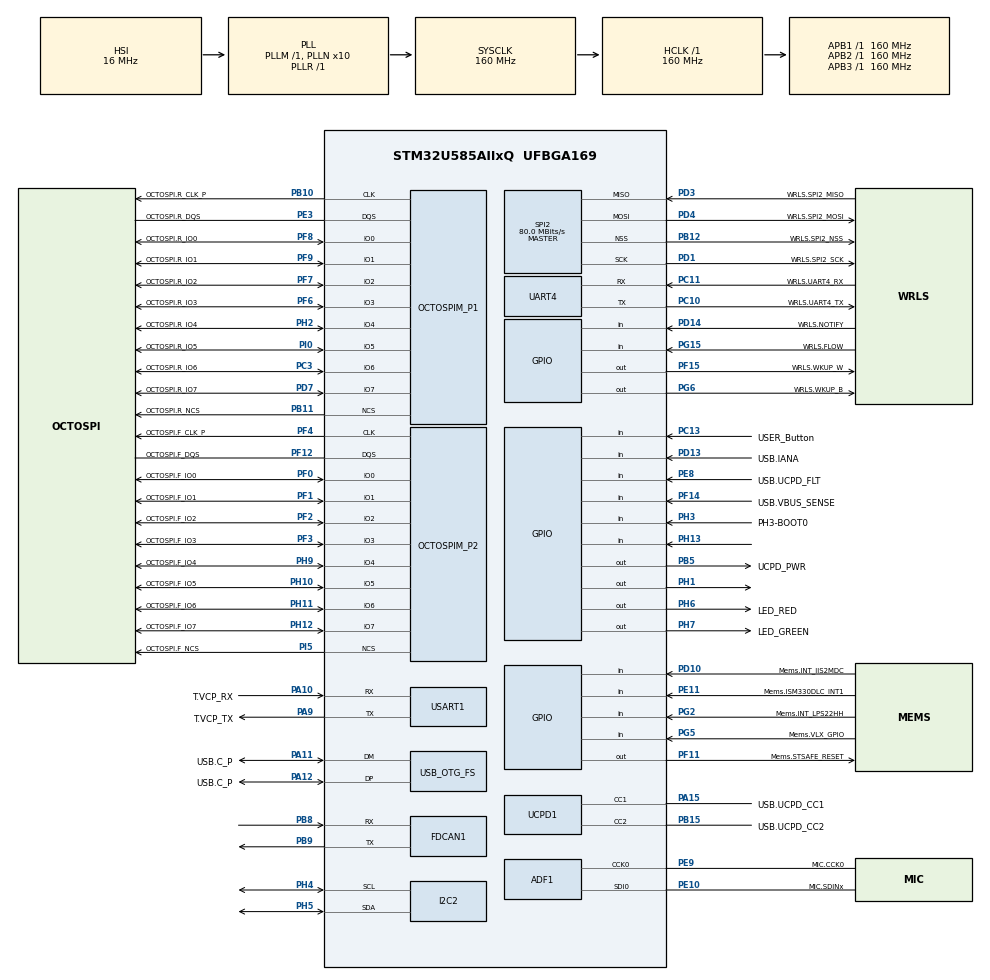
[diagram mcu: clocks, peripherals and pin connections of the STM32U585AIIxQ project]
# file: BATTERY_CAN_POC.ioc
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CORTEX_M33_NS.userName=CORTEX_M33
FDCAN1.AutoRetransmission=ENABLE
FDCAN1.CalculateBaudRateNominal=500000
FDCAN1.CalculateTimeBitNominal=2000
FDCAN1.CalculateTimeQuantumNominal=12.5
FDCAN1.FrameFormat=FDCAN_FRAME_CLASSIC
FDCAN1.NominalPrescaler=1
FDCAN1.NominalSyncJumpWidth=21
FDCAN1.NominalTimeSeg1=138
FDCAN1.NominalTimeSeg2=21
I2C2.Timing=0x30909DEC
Mcu.Family=STM32U5
Mcu.Name=STM32U585AIIxQ
Mcu.Package=UFBGA169
NVIC.FDCAN1_IT0_IRQn=true\:0\:0\:false\:false\:true\:true\:true\:true
NVIC.FDCAN1_IT1_IRQn=true\:0\:0\:false\:false\:true\:true\:true\:true
NVIC.PriorityGroup=NVIC_PRIORITYGROUP_4
OCTOSPI1.ChipSelectBoundary=10
OCTOSPI1.ClockPrescaler=2
OCTOSPI1.DelayBlockBypass=HAL_OSPI_DELAY_BLOCK_USED
OCTOSPI1.DelayHoldQuarterCycle=HAL_OSPI_DHQC_ENABLE
OCTOSPI1.DeviceSize=23
OCTOSPI1.MemoryType=HAL_OSPI_MEMTYPE_APMEMORY
OCTOSPI1.Refresh=100
OCTOSPI2.ChipSelectBoundary=0
OCTOSPI2.ChipSelectHighTime=2
OCTOSPI2.ClockPrescaler=4
OCTOSPI2.DelayBlockBypass=HAL_OSPI_DELAY_BLOCK_USED
OCTOSPI2.DelayHoldQuarterCycle=HAL_OSPI_DHQC_ENABLE
OCTOSPI2.DeviceSize=26
OCTOSPI2.FifoThreshold=4
OCTOSPI2.MemoryType=HAL_OSPI_MEMTYPE_MACRONIX
PA10.GPIO_Label=T.VCP_RX
PA10.Mode=Asynchronous
PA10.Signal=USART1_RX
PA11.GPIO_Label=USB.C_P
PA11.Mode=Device_Only
PA11.Signal=USB_OTG_FS_DM
PA12.GPIO_Label=USB.C_P
PA12.Mode=Device_Only
PA12.Signal=USB_OTG_FS_DP
PA13\ (JTMS/SWDIO).GPIO_Label=T.SWDIO
PA13\ (JTMS/SWDIO).Mode=Trace_Asynchronous_SW
PA13\ (JTMS/SWDIO).Signal=DEBUG_JTMS-SWDIO
PA14\ (JTCK/SWCLK).GPIO_Label=T.SWCLK
PA14\ (JTCK/SWCLK).Mode=Trace_Asynchronous_SW
PA14\ (JTCK/SWCLK).Signal=DEBUG_JTCK-SWCLK
PA15\ (JTDI).GPIO_Label=USB.UCPD_CC1
PA15\ (JTDI).Mode=Dual_Role_AllSignals
PA15\ (JTDI).Signal=UCPD1_CC1
PA9.GPIO_Label=T.VCP_TX
PA9.Mode=Asynchronous
PA9.Signal=USART1_TX
PB1.GPIO_Label=MIC.SDIN0
PB1.Signal=MDF1_SDI0
PB10.GPIO_Label=OCTOSPI.R_CLK_P
PB10.Mode=O1_P1_CLK
PB10.Signal=OCTOSPIM_P1_CLK
PB11.GPIO_Label=OCTOSPI.R_NCS
PB11.Mode=OCTOSPI1_Port1_NCS
PB11.Signal=OCTOSPIM_P1_NCS
PB12.GPIO_Label=WRLS.SPI2_NSS
PB12.Mode=NSS_Signal_Hard_Output
PB12.Signal=SPI2_NSS
PB15.GPIO_Label=USB.UCPD_CC2
PB15.Mode=Dual_Role_AllSignals
PB15.Signal=UCPD1_CC2
PB3\ (JTDO/TRACESWO).GPIO_Label=T.SWO
PB3\ (JTDO/TRACESWO).Mode=Trace_Asynchronous_SW
PB3\ (JTDO/TRACESWO).Signal=DEBUG_JTDO-SWO
PB5.GPIO_Label=UCPD_PWR
PB5.Signal=GPIO_Output
PB8.Mode=FDCAN_Activate
PB8.Signal=FDCAN1_RX
PB9.Mode=FDCAN_Activate
PB9.Signal=FDCAN1_TX
PC10.GPIO_Label=WRLS.UART4_TX
PC10.Mode=Asynchronous
PC10.Signal=UART4_TX
PC11.GPIO_Label=WRLS.UART4_RX
PC11.Mode=Asynchronous
PC11.Signal=UART4_RX
PC13.GPIO_Label=USER_Button
PC13.GPIO_PuPd=GPIO_PULLUP
PC13.Signal=GPIO_Input
PC14-OSC32_IN\ (PC14).GPIO_Label=PC14-OSC32_IN
PC14-OSC32_IN\ (PC14).Mode=LSE-External-Oscillator-for-RTC
PC14-OSC32_IN\ (PC14).Signal=RCC_OSC32_IN
PC15-OSC32_OUT\ (PC15).GPIO_Label=PC15-OSC32_OUT
PC15-OSC32_OUT\ (PC15).Mode=LSE-External-Oscillator-for-RTC
PC15-OSC32_OUT\ (PC15).Signal=RCC_OSC32_OUT
PC3.GPIO_Label=OCTOSPI.R_IO6
PC3.Mode=OCTOSPI1_IOH_Port1H
PC3.Signal=OCTOSPIM_P1_IO6
PD1.GPIO_Label=WRLS.SPI2_SCK
PD1.Mode=Full_Duplex_Master
PD1.Signal=SPI2_SCK
PD10.GPIO_Label=Mems.INT_IIS2MDC
PD10.Signal=GPIO_Input
PD13.GPIO_Label=USB.IANA
PD13.Signal=GPIO_Input
PD14.GPIO_Label=WRLS.NOTIFY
PD14.Signal=GPIO_Input
PD3.GPIO_Label=WRLS.SPI2_MISO
PD3.Mode=Full_Duplex_Master
PD3.Signal=SPI2_MISO
PD4.GPIO_Label=WRLS.SPI2_MOSI
PD4.Mode=Full_Duplex_Master
PD4.Signal=SPI2_MOSI
PD7.GPIO_Label=OCTOSPI.R_IO7
PD7.Mode=OCTOSPI1_IOH_Port1H
PD7.Signal=OCTOSPIM_P1_IO7
PE10.GPIO_Label=MIC.SDINx
PE10.Mode=MOD_ADF_CCK
PE10.Signal=ADF1_SDI0
PE11.GPIO_Label=Mems.ISM330DLC_INT1
PE11.Signal=GPIO_Input
PE3.GPIO_Label=OCTOSPI.R_DQS
PE3.Mode=OCTOSPI1_Port1_DQS
PE3.Signal=OCTOSPIM_P1_DQS
PE8.GPIO_Label=USB.UCPD_FLT
PE8.Signal=GPIO_Input
PE9.GPIO_Label=MIC.CCK0
PE9.Mode=MOD_MDF_CCK0
PE9.Signal=ADF1_CCK0
PF0.GPIO_Label=OCTOSPI.F_IO0
PF0.Mode=OCTOSPI2_IOL_Port2L
PF0.Signal=OCTOSPIM_P2_IO0
PF1.GPIO_Label=OCTOSPI.F_IO1
PF1.Mode=OCTOSPI2_IOL_Port2L
PF1.Signal=OCTOSPIM_P2_IO1
PF10.GPIO_Label=MIC.CCK1
PF10.Signal=MDF1_CCK1
PF11.GPIO_Label=Mems.STSAFE_RESET
PF11.Signal=GPIO_Output
PF12.GPIO_Label=OCTOSPI.F_DQS
PF12.Mode=OCTOSPI2_Port2_DQS
PF12.Signal=OCTOSPIM_P2_DQS
PF14.GPIO_Label=USB.VBUS_SENSE
PF14.Signal=GPIO_Input
PF15.GPIO_Label=WRLS.WKUP_W
PF15.Signal=GPIO_Output
PF2.GPIO_Label=OCTOSPI.F_IO2
PF2.Mode=OCTOSPI2_IOL_Port2L
PF2.Signal=OCTOSPIM_P2_IO2
PF3.GPIO_Label=OCTOSPI.F_IO3
PF3.Mode=OCTOSPI2_IOL_Port2L
PF3.Signal=OCTOSPIM_P2_IO3
PF4.GPIO_Label=OCTOSPI.F_CLK_P
PF4.Mode=O2_P2_CLK
PF4.Signal=OCTOSPIM_P2_CLK
PF6.GPIO_Label=OCTOSPI.R_IO3
PF6.Mode=OCTOSPI1_IOL_Port1L
PF6.Signal=OCTOSPIM_P1_IO3
PF7.GPIO_Label=OCTOSPI.R_IO2
PF7.Mode=OCTOSPI1_IOL_Port1L
PF7.Signal=OCTOSPIM_P1_IO2
PF8.GPIO_Label=OCTOSPI.R_IO0
PF8.Mode=OCTOSPI1_IOL_Port1L
PF8.Signal=OCTOSPIM_P1_IO0
PF9.GPIO_Label=OCTOSPI.R_IO1
PF9.Mode=OCTOSPI1_IOL_Port1L
PF9.Signal=OCTOSPIM_P1_IO1
PG15.GPIO_Label=WRLS.FLOW
PG15.Signal=GPIO_Input
PG2.GPIO_Label=Mems.INT_LPS22HH
PG2.Signal=GPIO_Input
PG5.GPIO_Label=Mems.VLX_GPIO
PG5.Signal=GPIO_Input
PG6.GPIO_Label=WRLS.WKUP_B
PG6.Signal=GPIO_Output
PH1-OSC_OUT\ (PH1).Signal=GPIO_Output
PH10.GPIO_Label=OCTOSPI.F_IO5
PH10.Mode=OCTOSPI2_IOH_Port2H
PH10.Signal=OCTOSPIM_P2_IO5
PH11.GPIO_Label=OCTOSPI.F_IO6
PH11.Mode=OCTOSPI2_IOH_Port2H
PH11.Signal=OCTOSPIM_P2_IO6
PH12.GPIO_Label=OCTOSPI.F_IO7
PH12.Mode=OCTOSPI2_IOH_Port2H
PH12.Signal=OCTOSPIM_P2_IO7
PH13.Signal=GPIO_Input
PH2.GPIO_Label=OCTOSPI.R_IO4
PH2.Mode=OCTOSPI1_IOH_Port1H
PH2.Signal=OCTOSPIM_P1_IO4
PH3-BOOT0.GPIO_Label=PH3-BOOT0
PH3-BOOT0.Signal=GPIO_Input
PH4.Mode=I2C
PH4.Signal=I2C2_SCL
PH5.Mode=I2C
PH5.Signal=I2C2_SDA
PH6.GPIO_Label=LED_RED
PH6.Signal=GPIO_Output
PH7.GPIO_Label=LED_GREEN
PH7.Signal=GPIO_Output
PH9.GPIO_Label=OCTOSPI.F_IO4
PH9.Mode=OCTOSPI2_IOH_Port2H
PH9.Signal=OCTOSPIM_P2_IO4
PI0.GPIO_Label=OCTOSPI.R_IO5
PI0.Mode=OCTOSPI1_IOH_Port1H
PI0.Signal=OCTOSPIM_P1_IO5
PI5.GPIO_Label=OCTOSPI.F_NCS
PI5.Mode=OCTOSPI2_Port2_NCS
PI5.Signal=OCTOSPIM_P2_NCS
PWR.PowerMode=PWR_SMPS_SUPPLY
ProjectManager.HeapSize=0x200
ProjectManager.StackSize=0x400
ProjectManager.TargetToolchain=CMake
RCC.ADCFreq_Value=16000000
RCC.AHBFreq_Value=160000000
RCC.APB1Freq_Value=160000000
RCC.APB1TimFreq_Value=160000000
RCC.APB2Freq_Value=160000000
RCC.APB2TimFreq_Value=160000000
RCC.APB3Freq_Value=160000000
RCC.CortexFreq_Value=160000000
RCC.DACCLockSelectionVirtual=RCC_DAC1CLKSOURCE_LSI
RCC.EPOD_VALUE=16000000
RCC.HCLKFreq_Value=160000000
RCC.HSE_VALUE=16000000
RCC.HSI48_VALUE=48000000
RCC.HSI_VALUE=16000000
RCC.LSIDIV_VALUE=32000
RCC.MSI_VALUE=4000000
RCC.PLL1R=1
RCC.PLLFRACN=0
RCC.PLLN=10
RCC.PLLSourceVirtual=RCC_PLLSOURCE_HSI
RCC.RTCClockSelection=RCC_RTCCLKSOURCE_LSE
RCC.SYSCLKFreq_VALUE=160000000
RCC.SYSCLKSource=RCC_SYSCLKSOURCE_PLLCLK
RCC.USBFreq_Value=48000000
RCC.VCOOutputFreq_Value=160000000
SPI2.BaudRatePrescaler=SPI_BAUDRATEPRESCALER_2
SPI2.CalculateBaudRate=80.0 MBits/s
SPI2.Direction=SPI_DIRECTION_2LINES
SPI2.Mode=SPI_MODE_MASTER
SPI2.VirtualNSS=VM_NSSHARD
SPI2.VirtualType=VM_MASTER
USART1.VirtualMode-Asynchronous=VM_ASYNC
USB_OTG_FS.VirtualMode=Device_Only
VP_ICACHE_VS_ICACHE.Mode=DirectMappedCache
VP_LPBAMQUEUE_VS_QUEUE.Mode=QUEUEMODE
VP_LPBAM_VS_SIG1.Mode=SmartRun
VP_LPBAM_VS_SIG4.Mode=LPDMA1
VP_MEMORYMAP_VS_MEMORYMAP.Mode=CurAppReg
VP_OCTOSPI1_VS_octo.Mode=octo_mode
VP_OCTOSPI2_VS_octo.Mode=octo_mode
VP_PWR_VS_DBSignals.Mode=DisableDeadBatterySignals
VP_PWR_VS_LPOM.Mode=PowerOptimisation
VP_PWR_VS_SECSignals.Mode=Security/Privilege
VP_RTC_VS_RTC_Activate.Mode=RTC_Enabled
VP_RTC_VS_RTC_Calendar.Mode=RTC_Calendar
board=B-U585I-IOT02A

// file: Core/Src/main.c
/* USER CODE BEGIN Header */
/**
 ******************************************************************************
 * @file           : main.c
 * @brief          : Main program body
 ******************************************************************************
 * @attention
 *
 * Copyright (c) 2026 STMicroelectronics.
 * All rights reserved.
 *
 * This software is licensed under terms that can be found in the LICENSE file
 * in the root directory of this software component.
 * If no LICENSE file comes with this software, it is provided AS-IS.
 *
 ******************************************************************************
 */

#include "can.h"
#include "logger.h"
#include "stm32u585xx.h"
#include "stm32u5xx.h"
#include "stm32u5xx_hal.h"
#include "stm32u5xx_hal_fdcan.h"
#include "utils.h"
#include <math.h>
#include <stddef.h>
#include <stdint.h>
#include <stdio.h>
#include <stdlib.h>
#include <string.h>
#include <time.h>
/* USER CODE END Header */
#include "main.h"

MDF_HandleTypeDef AdfHandle0;
MDF_FilterConfigTypeDef AdfFilterConfig0;

FDCAN_HandleTypeDef hfdcan1;

I2C_HandleTypeDef hi2c2;

OSPI_HandleTypeDef hospi1;
OSPI_HandleTypeDef hospi2;

RTC_HandleTypeDef hrtc;

SPI_HandleTypeDef hspi2;

UART_HandleTypeDef huart4;
UART_HandleTypeDef huart1;

PCD_HandleTypeDef hpcd_USB_OTG_FS;

/* USER CODE BEGIN PV */
RTC_TimeTypeDef sTime = {0};
RTC_DateTypeDef sDate = {0};
/* USER CODE END PV */

void SystemClock_Config(void);
static void SystemPower_Config(void);
static void MX_GPIO_Init(void);
static void MX_ADF1_Init(void);
static void MX_I2C2_Init(void);
static void MX_ICACHE_Init(void);
static void MX_OCTOSPI1_Init(void);
static void MX_OCTOSPI2_Init(void);
static void MX_SPI2_Init(void);
static void MX_UART4_Init(void);
static void MX_USART1_UART_Init(void);
static void MX_UCPD1_Init(void);
static void MX_USB_OTG_FS_PCD_Init(void);
static void MX_FDCAN1_Init(void);
static void MX_RTC_Init(void);

/* USER CODE BEGIN 0 */

int _gettimeofday(struct timeval *tv, void *tzvp) {
  // Use system tick count (e.g., HAL_GetTick() or SysTick)
  uint32_t ticks = HAL_GetTick(); // or your system's uptime function
  tv->tv_sec = ticks / 1000;
  tv->tv_usec = (ticks % 1000) * 1000;
  return 0; // Success
}

float random_float(float min, float max) {
  return min + (float)rand() / RAND_MAX * (max - min);
}
/* USER CODE END 0 */

int main(void) {

  /* MCU Configuration--------------------------------------------------------*/

  /* Reset of all peripherals, Initializes the Flash interface and the Systick.
   */
  HAL_Init();

  /* Configure the System Power */
  SystemPower_Config();

  /* Configure the system clock */
  SystemClock_Config();

  /* Initialize all configured peripherals */
  MX_GPIO_Init();
  MX_ADF1_Init();
  MX_I2C2_Init();
  MX_ICACHE_Init();
  MX_OCTOSPI1_Init();
  MX_OCTOSPI2_Init();
  MX_SPI2_Init();
  MX_UART4_Init();
  MX_USART1_UART_Init();
  MX_UCPD1_Init();
  MX_USB_OTG_FS_PCD_Init();
  MX_FDCAN1_Init();
  MX_RTC_Init();
  /* USER CODE BEGIN 2 */
  // STart FDCAN1
  HAL_StatusTypeDef status;

  FDCAN_FilterTypeDef sFilterConfig;
  sFilterConfig.IdType = FDCAN_STANDARD_ID;
  sFilterConfig.FilterIndex = 0;
  sFilterConfig.FilterType = FDCAN_FILTER_DUAL;
  sFilterConfig.FilterConfig = FDCAN_FILTER_TO_RXFIFO0;
  sFilterConfig.FilterID1 = 0x50;
  sFilterConfig.FilterID2 = 0x25;

  if ((status = HAL_FDCAN_ConfigFilter(&hfdcan1, &sFilterConfig)) != HAL_OK) {
    LOG(FAULT, "Can't configure FDCAN filter : HAL_status=%d.\r\n", status);
  }

  if ((status = HAL_FDCAN_Start(&hfdcan1)) != HAL_OK) {
    LOG(FAULT, "Can't start FDCAN : HAL_status=%d.\r\n", status);
  }

  if ((status = HAL_FDCAN_ActivateNotification(
           &hfdcan1,
           FDCAN_IT_RX_FIFO0_NEW_MESSAGE | FDCAN_IT_RX_FIFO1_NEW_MESSAGE, 0)) !=
      HAL_OK) {
    LOG(FAULT, "Can't activate notifications for FDCAN : HAL_status=%d.\r\n",
        status);
  }
  /* USER CODE END 2 */

  /* Infinite loop */
  /* USER CODE BEGIN WHILE */

  LOG(INFO, "Hello I am the battery board !");
  LOG(WARN, "This is a test log with level WARN.");
  LOG(FAULT, "This is a test log with level FAULT.");
  LOG(DEBUG, "This is a test log with level DEBUG.");

  srand(time(NULL));
  while (1) {
    /* USER CODE END WHILE */

    /* USER CODE BEGIN 3 */

    GPIO_PinState pinState;
    if ((pinState = HAL_GPIO_ReadPin(GPIOC, GPIO_PIN_13)) == GPIO_PIN_SET) {
      LOG(DEBUG, "User button has been pressed.");
      float intensity = random_float(0.0, 300.0);
      float temperature = random_float(0.0, 300.0);
      float voltage = random_float(0.0, 300.0);

      uint8_t TxData[8];
      if (rand() % 2) {
        memcpy(&TxData[0], &intensity, sizeof(float));
        memcpy(&TxData[4], &voltage, sizeof(float));
        SendCANMessage(TxData, BATTERY_STATUS);
      } else {
        memcpy(&TxData[0], &temperature, sizeof(float));
        SendCANMessage(TxData, TEMPERATURE_STATUS);
      }
    }

    HAL_Delay(200);
  }
  /* USER CODE END 3 */
}

void SystemClock_Config(void) {
  RCC_OscInitTypeDef RCC_OscInitStruct = {0};
  RCC_ClkInitTypeDef RCC_ClkInitStruct = {0};

  /** Configure the main internal regulator output voltage
   */
  if (HAL_PWREx_ControlVoltageScaling(PWR_REGULATOR_VOLTAGE_SCALE1) != HAL_OK) {
    Error_Handler();
  }

  /** Configure LSE Drive Capability
   */
  HAL_PWR_EnableBkUpAccess();
  __HAL_RCC_LSEDRIVE_CONFIG(RCC_LSEDRIVE_LOW);

  /** Initializes the CPU, AHB and APB buses clocks
   */
  RCC_OscInitStruct.OscillatorType = RCC_OSCILLATORTYPE_HSI48 |
                                     RCC_OSCILLATORTYPE_HSI |
                                     RCC_OSCILLATORTYPE_LSE;
  RCC_OscInitStruct.LSEState = RCC_LSE_ON_RTC_ONLY;
  RCC_OscInitStruct.HSIState = RCC_HSI_ON;
  RCC_OscInitStruct.HSI48State = RCC_HSI48_ON;
  RCC_OscInitStruct.HSICalibrationValue = RCC_HSICALIBRATION_DEFAULT;
  RCC_OscInitStruct.PLL.PLLState = RCC_PLL_ON;
  RCC_OscInitStruct.PLL.PLLSource = RCC_PLLSOURCE_HSI;
  RCC_OscInitStruct.PLL.PLLMBOOST = RCC_PLLMBOOST_DIV1;
  RCC_OscInitStruct.PLL.PLLM = 1;
  RCC_OscInitStruct.PLL.PLLN = 10;
  RCC_OscInitStruct.PLL.PLLP = 2;
  RCC_OscInitStruct.PLL.PLLQ = 2;
  RCC_OscInitStruct.PLL.PLLR = 1;
  RCC_OscInitStruct.PLL.PLLRGE = RCC_PLLVCIRANGE_1;
  RCC_OscInitStruct.PLL.PLLFRACN = 0;
  if (HAL_RCC_OscConfig(&RCC_OscInitStruct) != HAL_OK) {
    Error_Handler();
  }

  /** Initializes the CPU, AHB and APB buses clocks
   */
  RCC_ClkInitStruct.ClockType = RCC_CLOCKTYPE_HCLK | RCC_CLOCKTYPE_SYSCLK |
                                RCC_CLOCKTYPE_PCLK1 | RCC_CLOCKTYPE_PCLK2 |
                                RCC_CLOCKTYPE_PCLK3;
  RCC_ClkInitStruct.SYSCLKSource = RCC_SYSCLKSOURCE_PLLCLK;
  RCC_ClkInitStruct.AHBCLKDivider = RCC_SYSCLK_DIV1;
  RCC_ClkInitStruct.APB1CLKDivider = RCC_HCLK_DIV1;
  RCC_ClkInitStruct.APB2CLKDivider = RCC_HCLK_DIV1;
  RCC_ClkInitStruct.APB3CLKDivider = RCC_HCLK_DIV1;

  if (HAL_RCC_ClockConfig(&RCC_ClkInitStruct, FLASH_LATENCY_4) != HAL_OK) {
    Error_Handler();
  }
}

/**
 * @brief Power Configuration
 * @retval None
 */
static void SystemPower_Config(void) {
  HAL_PWREx_EnableVddIO2();

  /*
   * Switch to SMPS regulator instead of LDO
   */
  if (HAL_PWREx_ConfigSupply(PWR_SMPS_SUPPLY) != HAL_OK) {
    Error_Handler();
  }
}

static void MX_ADF1_Init(void) {

  /**
    AdfHandle0 structure initialization and HAL_MDF_Init function call
  */
  AdfHandle0.Instance = ADF1_Filter0;
  AdfHandle0.Init.CommonParam.ProcClockDivider = 1;
  AdfHandle0.Init.CommonParam.OutputClock.Activation = DISABLE;
  AdfHandle0.Init.SerialInterface.Activation = ENABLE;
  AdfHandle0.Init.SerialInterface.Mode = MDF_SITF_LF_MASTER_SPI_MODE;
  AdfHandle0.Init.SerialInterface.ClockSource = MDF_SITF_CCK0_SOURCE;
  AdfHandle0.Init.SerialInterface.Threshold = 4;
  AdfHandle0.Init.FilterBistream = MDF_BITSTREAM0_FALLING;
  if (HAL_MDF_Init(&AdfHandle0) != HAL_OK) {
    Error_Handler();
  }

  /**
    AdfFilterConfig0 structure initialization

    WARNING : only structure is filled, no specific init function call for
    filter
  */
  AdfFilterConfig0.DataSource = MDF_DATA_SOURCE_BSMX;
  AdfFilterConfig0.Delay = 0;
  AdfFilterConfig0.CicMode = MDF_ONE_FILTER_SINC4;
  AdfFilterConfig0.DecimationRatio = 2;
  AdfFilterConfig0.Gain = 0;
  AdfFilterConfig0.ReshapeFilter.Activation = DISABLE;
  AdfFilterConfig0.HighPassFilter.Activation = DISABLE;
  AdfFilterConfig0.SoundActivity.Activation = DISABLE;
  AdfFilterConfig0.AcquisitionMode = MDF_MODE_ASYNC_CONT;
  AdfFilterConfig0.FifoThreshold = MDF_FIFO_THRESHOLD_NOT_EMPTY;
  AdfFilterConfig0.DiscardSamples = 0;
}

static void MX_FDCAN1_Init(void) {

  hfdcan1.Instance = FDCAN1;
  hfdcan1.Init.ClockDivider = FDCAN_CLOCK_DIV1;
  hfdcan1.Init.FrameFormat = FDCAN_FRAME_CLASSIC;
  hfdcan1.Init.Mode = FDCAN_MODE_NORMAL;
  hfdcan1.Init.AutoRetransmission = ENABLE;
  hfdcan1.Init.TransmitPause = DISABLE;
  hfdcan1.Init.ProtocolException = DISABLE;
  hfdcan1.Init.NominalPrescaler = 1;
  hfdcan1.Init.NominalSyncJumpWidth = 21;
  hfdcan1.Init.NominalTimeSeg1 = 138;
  hfdcan1.Init.NominalTimeSeg2 = 21;
  hfdcan1.Init.DataPrescaler = 1;
  hfdcan1.Init.DataSyncJumpWidth = 1;
  hfdcan1.Init.DataTimeSeg1 = 1;
  hfdcan1.Init.DataTimeSeg2 = 1;
  hfdcan1.Init.StdFiltersNbr = 0;
  hfdcan1.Init.ExtFiltersNbr = 0;
  hfdcan1.Init.TxFifoQueueMode = FDCAN_TX_FIFO_OPERATION;
  if (HAL_FDCAN_Init(&hfdcan1) != HAL_OK) {
    Error_Handler();
  }
}

static void MX_I2C2_Init(void) {

  hi2c2.Instance = I2C2;
  hi2c2.Init.Timing = 0x30909DEC;
  hi2c2.Init.OwnAddress1 = 0;
  hi2c2.Init.AddressingMode = I2C_ADDRESSINGMODE_7BIT;
  hi2c2.Init.DualAddressMode = I2C_DUALADDRESS_DISABLE;
  hi2c2.Init.OwnAddress2 = 0;
  hi2c2.Init.OwnAddress2Masks = I2C_OA2_NOMASK;
  hi2c2.Init.GeneralCallMode = I2C_GENERALCALL_DISABLE;
  hi2c2.Init.NoStretchMode = I2C_NOSTRETCH_DISABLE;
  if (HAL_I2C_Init(&hi2c2) != HAL_OK) {
    Error_Handler();
  }

  /** Configure Analogue filter
   */
  if (HAL_I2CEx_ConfigAnalogFilter(&hi2c2, I2C_ANALOGFILTER_ENABLE) != HAL_OK) {
    Error_Handler();
  }

  /** Configure Digital filter
   */
  if (HAL_I2CEx_ConfigDigitalFilter(&hi2c2, 0) != HAL_OK) {
    Error_Handler();
  }
}

static void MX_ICACHE_Init(void) {

  /** Enable instruction cache in 1-way (direct mapped cache)
   */
  if (HAL_ICACHE_ConfigAssociativityMode(ICACHE_1WAY) != HAL_OK) {
    Error_Handler();
  }
  if (HAL_ICACHE_Enable() != HAL_OK) {
    Error_Handler();
  }
}

static void MX_OCTOSPI1_Init(void) {

  OSPIM_CfgTypeDef sOspiManagerCfg = {0};
  HAL_OSPI_DLYB_CfgTypeDef HAL_OSPI_DLYB_Cfg_Struct = {0};

  /* OCTOSPI1 parameter configuration*/
  hospi1.Instance = OCTOSPI1;
  hospi1.Init.FifoThreshold = 1;
  hospi1.Init.DualQuad = HAL_OSPI_DUALQUAD_DISABLE;
  hospi1.Init.MemoryType = HAL_OSPI_MEMTYPE_APMEMORY;
  hospi1.Init.DeviceSize = 23;
  hospi1.Init.ChipSelectHighTime = 1;
  hospi1.Init.FreeRunningClock = HAL_OSPI_FREERUNCLK_DISABLE;
  hospi1.Init.ClockMode = HAL_OSPI_CLOCK_MODE_0;
  hospi1.Init.WrapSize = HAL_OSPI_WRAP_NOT_SUPPORTED;
  hospi1.Init.ClockPrescaler = 2;
  hospi1.Init.SampleShifting = HAL_OSPI_SAMPLE_SHIFTING_NONE;
  hospi1.Init.DelayHoldQuarterCycle = HAL_OSPI_DHQC_ENABLE;
  hospi1.Init.ChipSelectBoundary = 10;
  hospi1.Init.DelayBlockBypass = HAL_OSPI_DELAY_BLOCK_USED;
  hospi1.Init.MaxTran = 0;
  hospi1.Init.Refresh = 100;
  if (HAL_OSPI_Init(&hospi1) != HAL_OK) {
    Error_Handler();
  }
  sOspiManagerCfg.ClkPort = 1;
  sOspiManagerCfg.DQSPort = 1;
  sOspiManagerCfg.NCSPort = 1;
  sOspiManagerCfg.IOLowPort = HAL_OSPIM_IOPORT_1_LOW;
  sOspiManagerCfg.IOHighPort = HAL_OSPIM_IOPORT_1_HIGH;
  if (HAL_OSPIM_Config(&hospi1, &sOspiManagerCfg,
                       HAL_OSPI_TIMEOUT_DEFAULT_VALUE) != HAL_OK) {
    Error_Handler();
  }
  HAL_OSPI_DLYB_Cfg_Struct.Units = 0;
  HAL_OSPI_DLYB_Cfg_Struct.PhaseSel = 0;
  if (HAL_OSPI_DLYB_SetConfig(&hospi1, &HAL_OSPI_DLYB_Cfg_Struct) != HAL_OK) {
    Error_Handler();
  }
}

static void MX_OCTOSPI2_Init(void) {

  OSPIM_CfgTypeDef sOspiManagerCfg = {0};
  HAL_OSPI_DLYB_CfgTypeDef HAL_OSPI_DLYB_Cfg_Struct = {0};

  /* OCTOSPI2 parameter configuration*/
  hospi2.Instance = OCTOSPI2;
  hospi2.Init.FifoThreshold = 4;
  hospi2.Init.DualQuad = HAL_OSPI_DUALQUAD_DISABLE;
  hospi2.Init.MemoryType = HAL_OSPI_MEMTYPE_MACRONIX;
  hospi2.Init.DeviceSize = 26;
  hospi2.Init.ChipSelectHighTime = 2;
  hospi2.Init.FreeRunningClock = HAL_OSPI_FREERUNCLK_DISABLE;
  hospi2.Init.ClockMode = HAL_OSPI_CLOCK_MODE_0;
  hospi2.Init.WrapSize = HAL_OSPI_WRAP_NOT_SUPPORTED;
  hospi2.Init.ClockPrescaler = 4;
  hospi2.Init.SampleShifting = HAL_OSPI_SAMPLE_SHIFTING_NONE;
  hospi2.Init.DelayHoldQuarterCycle = HAL_OSPI_DHQC_ENABLE;
  hospi2.Init.ChipSelectBoundary = 0;
  hospi2.Init.DelayBlockBypass = HAL_OSPI_DELAY_BLOCK_USED;
  hospi2.Init.MaxTran = 0;
  hospi2.Init.Refresh = 0;
  if (HAL_OSPI_Init(&hospi2) != HAL_OK) {
    Error_Handler();
  }
  sOspiManagerCfg.ClkPort = 2;
  sOspiManagerCfg.DQSPort = 2;
  sOspiManagerCfg.NCSPort = 2;
  sOspiManagerCfg.IOLowPort = HAL_OSPIM_IOPORT_2_LOW;
  sOspiManagerCfg.IOHighPort = HAL_OSPIM_IOPORT_2_HIGH;
  if (HAL_OSPIM_Config(&hospi2, &sOspiManagerCfg,
                       HAL_OSPI_TIMEOUT_DEFAULT_VALUE) != HAL_OK) {
    Error_Handler();
  }
  HAL_OSPI_DLYB_Cfg_Struct.Units = 0;
  HAL_OSPI_DLYB_Cfg_Struct.PhaseSel = 0;
  if (HAL_OSPI_DLYB_SetConfig(&hospi2, &HAL_OSPI_DLYB_Cfg_Struct) != HAL_OK) {
    Error_Handler();
  }
}

static void MX_RTC_Init(void) {

  RTC_PrivilegeStateTypeDef privilegeState = {0};
  RTC_TimeTypeDef sTime = {0};
  RTC_DateTypeDef sDate = {0};

  /** Initialize RTC Only
   */
  hrtc.Instance = RTC;
  hrtc.Init.HourFormat = RTC_HOURFORMAT_24;
  hrtc.Init.AsynchPrediv = 127;
  hrtc.Init.SynchPrediv = 255;
  hrtc.Init.OutPut = RTC_OUTPUT_DISABLE;
  hrtc.Init.OutPutRemap = RTC_OUTPUT_REMAP_NONE;
  hrtc.Init.OutPutPolarity = RTC_OUTPUT_POLARITY_HIGH;
  hrtc.Init.OutPutType = RTC_OUTPUT_TYPE_OPENDRAIN;
  hrtc.Init.OutPutPullUp = RTC_OUTPUT_PULLUP_NONE;
  hrtc.Init.BinMode = RTC_BINARY_NONE;
  if (HAL_RTC_Init(&hrtc) != HAL_OK) {
    Error_Handler();
  }
  privilegeState.rtcPrivilegeFull = RTC_PRIVILEGE_FULL_NO;
  privilegeState.backupRegisterPrivZone = RTC_PRIVILEGE_BKUP_ZONE_NONE;
  privilegeState.backupRegisterStartZone2 = RTC_BKP_DR0;
  privilegeState.backupRegisterStartZone3 = RTC_BKP_DR0;
  if (HAL_RTCEx_PrivilegeModeSet(&hrtc, &privilegeState) != HAL_OK) {
    Error_Handler();
  }

  /** Initialize RTC and set the Time and Date
   */
  sTime.Hours = 0x0;
  sTime.Minutes = 0x0;
  sTime.Seconds = 0x0;
  sTime.DayLightSaving = RTC_DAYLIGHTSAVING_NONE;
  sTime.StoreOperation = RTC_STOREOPERATION_RESET;
  if (HAL_RTC_SetTime(&hrtc, &sTime, RTC_FORMAT_BCD) != HAL_OK) {
    Error_Handler();
  }
  sDate.WeekDay = RTC_WEEKDAY_MONDAY;
  sDate.Month = RTC_MONTH_JANUARY;
  sDate.Date = 0x1;
  sDate.Year = 0x0;

  if (HAL_RTC_SetDate(&hrtc, &sDate, RTC_FORMAT_BCD) != HAL_OK) {
    Error_Handler();
  }
}

static void MX_SPI2_Init(void) {

  SPI_AutonomousModeConfTypeDef HAL_SPI_AutonomousMode_Cfg_Struct = {0};

  /* SPI2 parameter configuration*/
  hspi2.Instance = SPI2;
  hspi2.Init.Mode = SPI_MODE_MASTER;
  hspi2.Init.Direction = SPI_DIRECTION_2LINES;
  hspi2.Init.DataSize = SPI_DATASIZE_4BIT;
  hspi2.Init.CLKPolarity = SPI_POLARITY_LOW;
  hspi2.Init.CLKPhase = SPI_PHASE_1EDGE;
  hspi2.Init.NSS = SPI_NSS_HARD_OUTPUT;
  hspi2.Init.BaudRatePrescaler = SPI_BAUDRATEPRESCALER_2;
  hspi2.Init.FirstBit = SPI_FIRSTBIT_MSB;
  hspi2.Init.TIMode = SPI_TIMODE_DISABLE;
  hspi2.Init.CRCCalculation = SPI_CRCCALCULATION_DISABLE;
  hspi2.Init.CRCPolynomial = 0x7;
  hspi2.Init.NSSPMode = SPI_NSS_PULSE_ENABLE;
  hspi2.Init.NSSPolarity = SPI_NSS_POLARITY_LOW;
  hspi2.Init.FifoThreshold = SPI_FIFO_THRESHOLD_01DATA;
  hspi2.Init.MasterSSIdleness = SPI_MASTER_SS_IDLENESS_00CYCLE;
  hspi2.Init.MasterInterDataIdleness = SPI_MASTER_INTERDATA_IDLENESS_00CYCLE;
  hspi2.Init.MasterReceiverAutoSusp = SPI_MASTER_RX_AUTOSUSP_DISABLE;
  hspi2.Init.MasterKeepIOState = SPI_MASTER_KEEP_IO_STATE_DISABLE;
  hspi2.Init.IOSwap = SPI_IO_SWAP_DISABLE;
  hspi2.Init.ReadyMasterManagement = SPI_RDY_MASTER_MANAGEMENT_INTERNALLY;
  hspi2.Init.ReadyPolarity = SPI_RDY_POLARITY_HIGH;
  if (HAL_SPI_Init(&hspi2) != HAL_OK) {
    Error_Handler();
  }
  HAL_SPI_AutonomousMode_Cfg_Struct.TriggerState = SPI_AUTO_MODE_DISABLE;
  HAL_SPI_AutonomousMode_Cfg_Struct.TriggerSelection =
      SPI_GRP1_GPDMA_CH0_TCF_TRG;
  HAL_SPI_AutonomousMode_Cfg_Struct.TriggerPolarity = SPI_TRIG_POLARITY_RISING;
  if (HAL_SPIEx_SetConfigAutonomousMode(
          &hspi2, &HAL_SPI_AutonomousMode_Cfg_Struct) != HAL_OK) {
    Error_Handler();
  }
}

static void MX_UART4_Init(void) {

  huart4.Instance = UART4;
  huart4.Init.BaudRate = 115200;
  huart4.Init.WordLength = UART_WORDLENGTH_8B;
  huart4.Init.StopBits = UART_STOPBITS_1;
  huart4.Init.Parity = UART_PARITY_NONE;
  huart4.Init.Mode = UART_MODE_TX_RX;
  huart4.Init.HwFlowCtl = UART_HWCONTROL_NONE;
  huart4.Init.OverSampling = UART_OVERSAMPLING_16;
  huart4.Init.OneBitSampling = UART_ONE_BIT_SAMPLE_DISABLE;
  huart4.Init.ClockPrescaler = UART_PRESCALER_DIV1;
  huart4.AdvancedInit.AdvFeatureInit = UART_ADVFEATURE_NO_INIT;
  if (HAL_UART_Init(&huart4) != HAL_OK) {
    Error_Handler();
  }
  if (HAL_UARTEx_SetTxFifoThreshold(&huart4, UART_TXFIFO_THRESHOLD_1_8) !=
      HAL_OK) {
    Error_Handler();
  }
  if (HAL_UARTEx_SetRxFifoThreshold(&huart4, UART_RXFIFO_THRESHOLD_1_8) !=
      HAL_OK) {
    Error_Handler();
  }
  if (HAL_UARTEx_DisableFifoMode(&huart4) != HAL_OK) {
    Error_Handler();
  }
}

static void MX_USART1_UART_Init(void) {

  huart1.Instance = USART1;
  huart1.Init.BaudRate = 115200;
  huart1.Init.WordLength = UART_WORDLENGTH_8B;
  huart1.Init.StopBits = UART_STOPBITS_1;
  huart1.Init.Parity = UART_PARITY_NONE;
  huart1.Init.Mode = UART_MODE_TX_RX;
  huart1.Init.HwFlowCtl = UART_HWCONTROL_NONE;
  huart1.Init.OverSampling = UART_OVERSAMPLING_16;
  huart1.Init.OneBitSampling = UART_ONE_BIT_SAMPLE_DISABLE;
  huart1.Init.ClockPrescaler = UART_PRESCALER_DIV1;
  huart1.AdvancedInit.AdvFeatureInit = UART_ADVFEATURE_NO_INIT;
  if (HAL_UART_Init(&huart1) != HAL_OK) {
    Error_Handler();
  }
  if (HAL_UARTEx_SetTxFifoThreshold(&huart1, UART_TXFIFO_THRESHOLD_1_8) !=
      HAL_OK) {
    Error_Handler();
  }
  if (HAL_UARTEx_SetRxFifoThreshold(&huart1, UART_RXFIFO_THRESHOLD_1_8) !=
      HAL_OK) {
    Error_Handler();
  }
  if (HAL_UARTEx_DisableFifoMode(&huart1) != HAL_OK) {
    Error_Handler();
  }
}

static void MX_UCPD1_Init(void) {

  LL_GPIO_InitTypeDef GPIO_InitStruct = {0};

  /* Peripheral clock enable */
  LL_APB1_GRP2_EnableClock(LL_APB1_GRP2_PERIPH_UCPD1);

  LL_AHB2_GRP1_EnableClock(LL_AHB2_GRP1_PERIPH_GPIOA);
  LL_AHB2_GRP1_EnableClock(LL_AHB2_GRP1_PERIPH_GPIOB);
  /**UCPD1 GPIO Configuration
  PA15 (JTDI)   ------> UCPD1_CC1
  PB15   ------> UCPD1_CC2
  */
  GPIO_InitStruct.Pin = LL_GPIO_PIN_15;
  GPIO_InitStruct.Mode = LL_GPIO_MODE_ANALOG;
  GPIO_InitStruct.Pull = LL_GPIO_PULL_NO;
  LL_GPIO_Init(GPIOA, &GPIO_InitStruct);

  GPIO_InitStruct.Pin = LL_GPIO_PIN_15;
  GPIO_InitStruct.Mode = LL_GPIO_MODE_ANALOG;
  GPIO_InitStruct.Pull = LL_GPIO_PULL_NO;
  LL_GPIO_Init(GPIOB, &GPIO_InitStruct);

}

static void MX_USB_OTG_FS_PCD_Init(void) {

  hpcd_USB_OTG_FS.Instance = USB_OTG_FS;
  hpcd_USB_OTG_FS.Init.dev_endpoints = 6;
  hpcd_USB_OTG_FS.Init.speed = PCD_SPEED_FULL;
  hpcd_USB_OTG_FS.Init.phy_itface = PCD_PHY_EMBEDDED;
  hpcd_USB_OTG_FS.Init.Sof_enable = DISABLE;
  hpcd_USB_OTG_FS.Init.low_power_enable = DISABLE;
  hpcd_USB_OTG_FS.Init.lpm_enable = DISABLE;
  hpcd_USB_OTG_FS.Init.battery_charging_enable = DISABLE;
  hpcd_USB_OTG_FS.Init.use_dedicated_ep1 = DISABLE;
  hpcd_USB_OTG_FS.Init.vbus_sensing_enable = DISABLE;
  hpcd_USB_OTG_FS.Init.dma_enable = DISABLE;
  if (HAL_PCD_Init(&hpcd_USB_OTG_FS) != HAL_OK) {
    Error_Handler();
  }
}

static void MX_GPIO_Init(void) {
  GPIO_InitTypeDef GPIO_InitStruct = {0};

  /* GPIO Ports Clock Enable */
  __HAL_RCC_GPIOG_CLK_ENABLE();
  __HAL_RCC_GPIOC_CLK_ENABLE();
  __HAL_RCC_GPIOA_CLK_ENABLE();
  __HAL_RCC_GPIOI_CLK_ENABLE();
  __HAL_RCC_GPIOH_CLK_ENABLE();
  __HAL_RCC_GPIOB_CLK_ENABLE();
  __HAL_RCC_GPIOD_CLK_ENABLE();
  __HAL_RCC_GPIOE_CLK_ENABLE();
  __HAL_RCC_GPIOF_CLK_ENABLE();

  /*Configure GPIO pin Output Level */
  HAL_GPIO_WritePin(UCPD_PWR_GPIO_Port, UCPD_PWR_Pin, GPIO_PIN_RESET);

  /*Configure GPIO pin Output Level */
  HAL_GPIO_WritePin(GPIOH, LED_RED_Pin | LED_GREEN_Pin | GPIO_PIN_1,
                    GPIO_PIN_RESET);

  /*Configure GPIO pin Output Level */
  HAL_GPIO_WritePin(WRLS_WKUP_B_GPIO_Port, WRLS_WKUP_B_Pin, GPIO_PIN_RESET);

  /*Configure GPIO pin Output Level */
  HAL_GPIO_WritePin(GPIOF, Mems_STSAFE_RESET_Pin | WRLS_WKUP_W_Pin,
                    GPIO_PIN_RESET);

  /*Configure GPIO pins : WRLS_FLOW_Pin Mems_VLX_GPIO_Pin Mems_INT_LPS22HH_Pin
   */
  GPIO_InitStruct.Pin =
      WRLS_FLOW_Pin | Mems_VLX_GPIO_Pin | Mems_INT_LPS22HH_Pin;
  GPIO_InitStruct.Mode = GPIO_MODE_INPUT;
  GPIO_InitStruct.Pull = GPIO_NOPULL;
  HAL_GPIO_Init(GPIOG, &GPIO_InitStruct);

  /*Configure GPIO pins : PH3_BOOT0_Pin PH13 */
  GPIO_InitStruct.Pin = PH3_BOOT0_Pin | GPIO_PIN_13;
  GPIO_InitStruct.Mode = GPIO_MODE_INPUT;
  GPIO_InitStruct.Pull = GPIO_NOPULL;
  HAL_GPIO_Init(GPIOH, &GPIO_InitStruct);

  /*Configure GPIO pin : UCPD_PWR_Pin */
  GPIO_InitStruct.Pin = UCPD_PWR_Pin;
  GPIO_InitStruct.Mode = GPIO_MODE_OUTPUT_PP;
  GPIO_InitStruct.Pull = GPIO_NOPULL;
  GPIO_InitStruct.Speed = GPIO_SPEED_FREQ_LOW;
  HAL_GPIO_Init(UCPD_PWR_GPIO_Port, &GPIO_InitStruct);

  /*Configure GPIO pin : USER_Button_Pin */
  GPIO_InitStruct.Pin = USER_Button_Pin;
  GPIO_InitStruct.Mode = GPIO_MODE_INPUT;
  GPIO_InitStruct.Pull = GPIO_PULLUP;
  HAL_GPIO_Init(USER_Button_GPIO_Port, &GPIO_InitStruct);

  /*Configure GPIO pins : LED_RED_Pin LED_GREEN_Pin PH1 */
  GPIO_InitStruct.Pin = LED_RED_Pin | LED_GREEN_Pin | GPIO_PIN_1;
  GPIO_InitStruct.Mode = GPIO_MODE_OUTPUT_PP;
  GPIO_InitStruct.Pull = GPIO_NOPULL;
  GPIO_InitStruct.Speed = GPIO_SPEED_FREQ_LOW;
  HAL_GPIO_Init(GPIOH, &GPIO_InitStruct);

  /*Configure GPIO pin : MIC_CCK1_Pin */
  GPIO_InitStruct.Pin = MIC_CCK1_Pin;
  GPIO_InitStruct.Mode = GPIO_MODE_AF_PP;
  GPIO_InitStruct.Pull = GPIO_NOPULL;
  GPIO_InitStruct.Speed = GPIO_SPEED_FREQ_LOW;
  GPIO_InitStruct.Alternate = GPIO_AF6_MDF1;
  HAL_GPIO_Init(MIC_CCK1_GPIO_Port, &GPIO_InitStruct);

  /*Configure GPIO pin : WRLS_WKUP_B_Pin */
  GPIO_InitStruct.Pin = WRLS_WKUP_B_Pin;
  GPIO_InitStruct.Mode = GPIO_MODE_OUTPUT_PP;
  GPIO_InitStruct.Pull = GPIO_NOPULL;
  GPIO_InitStruct.Speed = GPIO_SPEED_FREQ_LOW;
  HAL_GPIO_Init(WRLS_WKUP_B_GPIO_Port, &GPIO_InitStruct);

  /*Configure GPIO pins : WRLS_NOTIFY_Pin Mems_INT_IIS2MDC_Pin USB_IANA_Pin */
  GPIO_InitStruct.Pin = WRLS_NOTIFY_Pin | Mems_INT_IIS2MDC_Pin | USB_IANA_Pin;
  GPIO_InitStruct.Mode = GPIO_MODE_INPUT;
  GPIO_InitStruct.Pull = GPIO_NOPULL;
  HAL_GPIO_Init(GPIOD, &GPIO_InitStruct);

  /*Configure GPIO pins : USB_UCPD_FLT_Pin Mems_ISM330DLC_INT1_Pin */
  GPIO_InitStruct.Pin = USB_UCPD_FLT_Pin | Mems_ISM330DLC_INT1_Pin;
  GPIO_InitStruct.Mode = GPIO_MODE_INPUT;
  GPIO_InitStruct.Pull = GPIO_NOPULL;
  HAL_GPIO_Init(GPIOE, &GPIO_InitStruct);

  /*Configure GPIO pin : USB_VBUS_SENSE_Pin */
  GPIO_InitStruct.Pin = USB_VBUS_SENSE_Pin;
  GPIO_InitStruct.Mode = GPIO_MODE_INPUT;
  GPIO_InitStruct.Pull = GPIO_NOPULL;
  HAL_GPIO_Init(USB_VBUS_SENSE_GPIO_Port, &GPIO_InitStruct);

  /*Configure GPIO pins : Mems_STSAFE_RESET_Pin WRLS_WKUP_W_Pin */
  GPIO_InitStruct.Pin = Mems_STSAFE_RESET_Pin | WRLS_WKUP_W_Pin;
  GPIO_InitStruct.Mode = GPIO_MODE_OUTPUT_PP;
  GPIO_InitStruct.Pull = GPIO_NOPULL;
  GPIO_InitStruct.Speed = GPIO_SPEED_FREQ_LOW;
  HAL_GPIO_Init(GPIOF, &GPIO_InitStruct);

  /*Configure GPIO pin : MIC_SDIN0_Pin */
  GPIO_InitStruct.Pin = MIC_SDIN0_Pin;
  GPIO_InitStruct.Mode = GPIO_MODE_AF_PP;
  GPIO_InitStruct.Pull = GPIO_NOPULL;
  GPIO_InitStruct.Speed = GPIO_SPEED_FREQ_LOW;
  GPIO_InitStruct.Alternate = GPIO_AF6_MDF1;
  HAL_GPIO_Init(MIC_SDIN0_GPIO_Port, &GPIO_InitStruct);

}

void Error_Handler(void) {
  __disable_irq();
  while (1) {
  }
}
#ifdef USE_FULL_ASSERT
/**
 * @brief  Reports the name of the source file and the source line number
 *         where the assert_param error has occurred.
 * @param  file: pointer to the source file name
 * @param  line: assert_param error line source number
 * @retval None
 */
void assert_failed(uint8_t *file, uint32_t line) {
  /* USER CODE BEGIN 6 */
  /* User can add his own implementation to report the file name and line
     number, ex: printf("Wrong parameters value: file %s on line %d\r\n", file,
     line) */
  /* USER CODE END 6 */
}
#endif /* USE_FULL_ASSERT */
